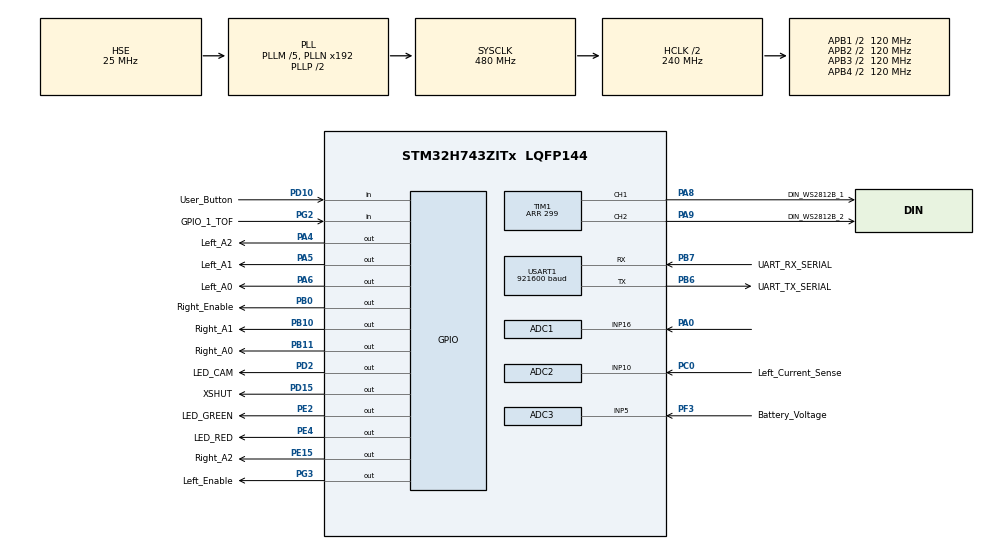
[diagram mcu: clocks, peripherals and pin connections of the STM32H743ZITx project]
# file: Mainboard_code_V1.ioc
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ADC1.Channel-0\#ChannelRegularConversion=ADC_CHANNEL_16
ADC1.ClockPrescaler=ADC_CLOCK_ASYNC_DIV2
ADC1.NbrOfConversionFlag=1
ADC1.Ratio=32
ADC1.master=1
ADC2.Channel-0\#ChannelRegularConversion=ADC_CHANNEL_10
ADC2.ClockPrescaler=ADC_CLOCK_ASYNC_DIV2
ADC2.NbrOfConversionFlag=1
ADC2.OffsetNumber-0\#ChannelRegularConversion=ADC_OFFSET_NONE
ADC2.OffsetSignedSaturation-0\#ChannelRegularConversion=DISABLE
ADC2.Rank-0\#ChannelRegularConversion=1
ADC2.Ratio=32
ADC2.SamplingTime-0\#ChannelRegularConversion=ADC_SAMPLETIME_1CYCLE_5
ADC3.Channel-0\#ChannelRegularConversion=ADC_CHANNEL_5
ADC3.ClockPrescaler=ADC_CLOCK_ASYNC_DIV2
ADC3.NbrOfConversionFlag=1
ADC3.OffsetNumber-0\#ChannelRegularConversion=ADC_OFFSET_NONE
ADC3.OffsetSignedSaturation-0\#ChannelRegularConversion=DISABLE
ADC3.Rank-0\#ChannelRegularConversion=1
ADC3.Ratio=32
ADC3.Resolution=ADC_RESOLUTION_14B
ADC3.SamplingTime-0\#ChannelRegularConversion=ADC_SAMPLETIME_1CYCLE_5
CORTEX_M7.default_mode_Activation=1
Dma.Request0=TIM1_CH1
Dma.Request1=TIM1_CH2
Dma.Request2=USART1_TX
Dma.TIM1_CH1.0.Direction=DMA_MEMORY_TO_PERIPH
Dma.TIM1_CH1.0.EventEnable=DISABLE
Dma.TIM1_CH1.0.FIFOMode=DMA_FIFOMODE_DISABLE
Dma.TIM1_CH1.0.Instance=DMA1_Stream0
Dma.TIM1_CH1.0.MemDataAlignment=DMA_MDATAALIGN_HALFWORD
Dma.TIM1_CH1.0.MemInc=DMA_MINC_ENABLE
Dma.TIM1_CH1.0.Mode=DMA_NORMAL
Dma.TIM1_CH1.0.PeriphDataAlignment=DMA_PDATAALIGN_HALFWORD
Dma.TIM1_CH1.0.PeriphInc=DMA_PINC_DISABLE
Dma.TIM1_CH1.0.Polarity=HAL_DMAMUX_REQ_GEN_RISING
Dma.TIM1_CH1.0.Priority=DMA_PRIORITY_HIGH
Dma.TIM1_CH1.0.RequestNumber=1
Dma.TIM1_CH1.0.SignalID=NONE
Dma.TIM1_CH1.0.SyncEnable=DISABLE
Dma.TIM1_CH1.0.SyncPolarity=HAL_DMAMUX_SYNC_NO_EVENT
Dma.TIM1_CH1.0.SyncRequestNumber=1
Dma.TIM1_CH1.0.SyncSignalID=NONE
Dma.TIM1_CH2.1.Direction=DMA_MEMORY_TO_PERIPH
Dma.TIM1_CH2.1.EventEnable=DISABLE
Dma.TIM1_CH2.1.FIFOMode=DMA_FIFOMODE_DISABLE
Dma.TIM1_CH2.1.Instance=DMA1_Stream1
Dma.TIM1_CH2.1.MemDataAlignment=DMA_MDATAALIGN_HALFWORD
Dma.TIM1_CH2.1.MemInc=DMA_MINC_ENABLE
Dma.TIM1_CH2.1.Mode=DMA_NORMAL
Dma.TIM1_CH2.1.PeriphDataAlignment=DMA_PDATAALIGN_HALFWORD
Dma.TIM1_CH2.1.PeriphInc=DMA_PINC_DISABLE
Dma.TIM1_CH2.1.Polarity=HAL_DMAMUX_REQ_GEN_RISING
Dma.TIM1_CH2.1.Priority=DMA_PRIORITY_HIGH
Dma.TIM1_CH2.1.RequestNumber=1
Dma.TIM1_CH2.1.SignalID=NONE
Dma.TIM1_CH2.1.SyncEnable=DISABLE
Dma.TIM1_CH2.1.SyncPolarity=HAL_DMAMUX_SYNC_NO_EVENT
Dma.TIM1_CH2.1.SyncRequestNumber=1
Dma.TIM1_CH2.1.SyncSignalID=NONE
Dma.USART1_TX.2.Direction=DMA_MEMORY_TO_PERIPH
Dma.USART1_TX.2.EventEnable=DISABLE
Dma.USART1_TX.2.FIFOMode=DMA_FIFOMODE_DISABLE
Dma.USART1_TX.2.Instance=DMA1_Stream7
Dma.USART1_TX.2.MemDataAlignment=DMA_MDATAALIGN_BYTE
Dma.USART1_TX.2.MemInc=DMA_MINC_ENABLE
Dma.USART1_TX.2.Mode=DMA_NORMAL
Dma.USART1_TX.2.PeriphDataAlignment=DMA_PDATAALIGN_BYTE
Dma.USART1_TX.2.PeriphInc=DMA_PINC_DISABLE
Dma.USART1_TX.2.Polarity=HAL_DMAMUX_REQ_GEN_RISING
Dma.USART1_TX.2.Priority=DMA_PRIORITY_HIGH
Dma.USART1_TX.2.RequestNumber=1
Dma.USART1_TX.2.SignalID=NONE
Dma.USART1_TX.2.SyncEnable=DISABLE
Dma.USART1_TX.2.SyncPolarity=HAL_DMAMUX_SYNC_NO_EVENT
Dma.USART1_TX.2.SyncRequestNumber=1
Dma.USART1_TX.2.SyncSignalID=NONE
Mcu.Family=STM32H7
Mcu.Name=STM32H743ZITx
Mcu.Package=LQFP144
NVIC.DMA1_Stream0_IRQn=true\:0\:0\:false\:false\:true\:false\:true\:true
NVIC.DMA1_Stream1_IRQn=true\:0\:0\:false\:false\:true\:false\:true\:true
NVIC.DMA1_Stream7_IRQn=true\:0\:0\:false\:false\:true\:false\:true\:true
NVIC.PriorityGroup=NVIC_PRIORITYGROUP_4
NVIC.USART1_IRQn=true\:0\:0\:false\:false\:true\:true\:true\:true
PA0.GPIO_Mode=GPIO_MODE_ANALOG
PA0.GPIO_Pd=GPIO_NOPULL
PA0.Mode=IN16-Single-Ended
PA0.Signal=ADC1_INP16
PA13\ (JTMS/SWDIO).Signal=DEBUG_JTMS-SWDIO
PA14\ (JTCK/SWCLK).Signal=DEBUG_JTCK-SWCLK
PA4.GPIO_Label=Left_A2
PA4.Signal=GPIO_Output
PA5.GPIO_Label=Left_A1
PA5.Signal=GPIO_Output
PA6.GPIO_Label=Left_A0
PA6.Signal=GPIO_Output
PA8.GPIO_Label=DIN_WS2812B_1
PA8.GPIO_Speed=GPIO_SPEED_FREQ_VERY_HIGH
PA8.Signal=S_TIM1_CH1
PA9.GPIO_Label=DIN_WS2812B_2
PA9.GPIO_Speed=GPIO_SPEED_FREQ_VERY_HIGH
PA9.Signal=S_TIM1_CH2
PB0.GPIO_Label=Right_Enable
PB0.PinState=GPIO_PIN_SET
PB0.Signal=GPIO_Output
PB10.GPIO_Label=Right_A1
PB10.Signal=GPIO_Output
PB11.GPIO_Label=Right_A0
PB11.Signal=GPIO_Output
PB3\ (JTDO/TRACESWO).Signal=DEBUG_JTDO-SWO
PB6.GPIO_Label=UART_TX_SERIAL
PB6.GPIO_PuPd=GPIO_NOPULL
PB6.GPIO_Speed=GPIO_SPEED_FREQ_VERY_HIGH
PB6.Mode=Asynchronous
PB6.Signal=USART1_TX
PB7.GPIO_Label=UART_RX_SERIAL
PB7.GPIO_Speed=GPIO_SPEED_FREQ_VERY_HIGH
PB7.Mode=Asynchronous
PB7.Signal=USART1_RX
PB8.GPIO_Speed=GPIO_SPEED_FREQ_VERY_HIGH
PB8.Signal=I2C1_SCL
PB9.GPIO_Speed=GPIO_SPEED_FREQ_VERY_HIGH
PB9.Signal=I2C1_SDA
PC0.GPIO_Label=Left_Current_Sense
PC0.Signal=ADCx_INP10
PC14-OSC32_IN\ (OSC32_IN).Mode=LSE-External-Oscillator
PC14-OSC32_IN\ (OSC32_IN).Signal=RCC_OSC32_IN
PC15-OSC32_OUT\ (OSC32_OUT).Mode=LSE-External-Oscillator
PC15-OSC32_OUT\ (OSC32_OUT).Signal=RCC_OSC32_OUT
PD10.GPIO_Label=User_Button
PD10.Signal=GPIO_Input
PD15.GPIO_Label=XSHUT
PD15.Signal=GPIO_Output
PD2.GPIO_Label=LED_CAM
PD2.Signal=GPIO_Output
PE15.GPIO_Label=Right_A2
PE15.Signal=GPIO_Output
PE2.GPIO_Label=LED_GREEN
PE2.Signal=GPIO_Output
PE4.GPIO_Label=LED_RED
PE4.Signal=GPIO_Output
PF3.GPIO_Label=Battery_Voltage
PF3.Mode=IN5-Single-Ended
PF3.Signal=ADC3_INP5
PG2.GPIO_Label=GPIO_1_TOF
PG2.GPIO_PuPd=GPIO_PULLUP
PG2.Signal=GPIO_Input
PG3.GPIO_Label=Left_Enable
PG3.PinState=GPIO_PIN_SET
PG3.Signal=GPIO_Output
PH0-OSC_IN\ (PH0).Mode=HSE-External-Oscillator
PH0-OSC_IN\ (PH0).Signal=RCC_OSC_IN
PH1-OSC_OUT\ (PH1).Mode=HSE-External-Oscillator
PH1-OSC_OUT\ (PH1).Signal=RCC_OSC_OUT
ProjectManager.HeapSize=0x200
ProjectManager.StackSize=0x400
ProjectManager.TargetToolchain=STM32CubeIDE
RCC.ADCFreq_Value=75000000
RCC.APB1Freq_Value=120000000
RCC.APB2Freq_Value=120000000
RCC.APB3Freq_Value=120000000
RCC.APB4Freq_Value=120000000
RCC.CortexFreq_Value=480000000
RCC.D1PPRE=RCC_APB3_DIV2
RCC.D2PPRE1=RCC_APB1_DIV2
RCC.D2PPRE2=RCC_APB2_DIV2
RCC.D3PPRE=RCC_APB4_DIV2
RCC.DIVM1=5
RCC.DIVM2=2
RCC.DIVN1=192
RCC.DIVN2=12
RCC.HCLKFreq_Value=240000000
RCC.HPRE=RCC_HCLK_DIV2
RCC.HSE_VALUE=25000000
RCC.HSIDiv=RCC_PLLSAIDIVR_2
RCC.PLL2FRACN=0
RCC.PLLFRACN=0
RCC.PLLSourceVirtual=RCC_PLLSOURCE_HSE
RCC.SYSCLKFreq_VALUE=480000000
RCC.SYSCLKSource=RCC_SYSCLKSOURCE_PLLCLK
RCC.USBFreq_Value=480000000
SH.ADCx_INP10.0=ADC2_INP10,IN10-Single-Ended
SH.S_TIM1_CH1.0=TIM1_CH1,PWM Generation1 CH1
SH.S_TIM1_CH2.0=TIM1_CH2,PWM Generation2 CH2
STMicroelectronics.X-CUBE-MEMS1.12.1.0.BoardOoPartJjAccGyrIspuJjLSM6DSO16IS=I2C
TIM1.AutoReloadPreload=TIM_AUTORELOAD_PRELOAD_ENABLE
TIM1.AutomaticOutput=TIM_AUTOMATICOUTPUT_ENABLE
TIM1.Channel-PWM\ Generation1\ CH1=TIM_CHANNEL_1
TIM1.Channel-PWM\ Generation2\ CH2=TIM_CHANNEL_2
TIM1.Period=299
USART1.BaudRate=921600
USART1.VirtualMode-Asynchronous=VM_ASYNC
VP_MEMORYMAP_VS_MEMORYMAP.Mode=CurAppReg
VP_STMicroelectronics.X-CUBE-MEMS1_VS_BoardOoPartJjAccGyrIspu_1.7.0_12.1.0.Mode=BoardOoPartJjAccGyrIspu
VP_TIM1_VS_ClockSourceINT.Mode=Internal
board=custom

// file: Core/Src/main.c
/* USER CODE BEGIN Header */
/**
  ******************************************************************************
  * @file           : main.c
  * @brief          : Hexapod mainboard — IMU + ToF + dual PCA9685 servo control
  *
  * Host ↔ STM32 communication lives entirely in uart_protocol.{c,h}.
  * See that header for the wire format.
  ******************************************************************************
  */
/* USER CODE END Header */
#include "main.h"

/* USER CODE BEGIN Includes */
#include <stdio.h>
#include <stdint.h>
#include "pca9685.h"
#include "imu.h"
#include "tof.h"
#include "uart_protocol.h"
#include "ws2812b.h"
#include "battery.h"
#include "adc.h"
#include "lokomotion.h"
#include "loko_input.h"
#include "loko_transitions.h"
#include "uart_dma_tx.h"

/* USER CODE END Includes */

ADC_HandleTypeDef hadc1;
ADC_HandleTypeDef hadc2;
ADC_HandleTypeDef hadc3;

TIM_HandleTypeDef htim1;
DMA_HandleTypeDef hdma_tim1_ch1;
DMA_HandleTypeDef hdma_tim1_ch2;

UART_HandleTypeDef huart1;
DMA_HandleTypeDef hdma_usart1_tx;

/* USER CODE BEGIN PV */

I2C_HandleTypeDef hi2c1;

/* Servo Drivers */
static PCA9685_t pca_right;
static PCA9685_t pca_left;

/* IMU */
// static IMU_Data_t   imu_data;

/* Locomotion */
static LokoState loko;

/* System-level error flags — set during init and runtime */
#define SYS_ERR_PCA_RIGHT  (1u << 0)
#define SYS_ERR_PCA_LEFT   (1u << 1)
#define SYS_ERR_IMU        (1u << 2)
#define SYS_ERR_TOF        (1u << 3)
#define SYS_ERR_LOKO       (1u << 4)
static uint32_t sys_err_flags = 0;
static uint16_t s_tof_distance_mm = 0xFFFFu;

uint16_t tof_get_distance_mm(void) { return s_tof_distance_mm; }

/* USER CODE END PV */

void SystemClock_Config(void);
void PeriphCommonClock_Config(void);
static void MPU_Config(void);
static void MX_GPIO_Init(void);
static void MX_DMA_Init(void);
static void MX_USART1_UART_Init(void);
static void MX_ADC1_Init(void);
static void MX_ADC2_Init(void);
static void MX_ADC3_Init(void);
static void MX_TIM1_Init(void);
/* USER CODE BEGIN PFP */
static void center_all_servos(void);
static void I2C_BusClear(void);
static void I2C1_Init(void);
/* USER CODE END PFP */

/* USER CODE BEGIN 0 */

/* Release any slave that held the I2C bus when the MCU reset.
 *
 * Root cause of the "8-resets" problem: a slave mid-transaction holds SDA low.
 * The old code broke out of the clock loop when SDA appeared HIGH, which happens
 * naturally between byte boundaries — so 0 clocks were sent and the slave stayed
 * stuck.  One 9-clock pass only recovers one stuck byte; a multi-byte PCA9685
 * write can leave 8+ bytes outstanding, matching the 8-reset symptom exactly.
 *
 * Fix: always send 9 clocks unconditionally, then issue a STOP.  Repeat three
 * rounds so even a slave deep inside a long transaction reaches a byte boundary
 * and recognises the STOP.  SDA is kept as INPUT during clocking so the slave
 * can drive its data bits; we switch to output only for the STOP pulse. */
static void I2C_BusClear(void)
{
    GPIO_InitTypeDef GPIO_InitStruct = {0};

    __HAL_RCC_GPIOB_CLK_ENABLE();

    /* SCL = PB8 open-drain output */
    GPIO_InitStruct.Pin   = GPIO_PIN_8;
    GPIO_InitStruct.Mode  = GPIO_MODE_OUTPUT_OD;
    GPIO_InitStruct.Pull  = GPIO_NOPULL;
    GPIO_InitStruct.Speed = GPIO_SPEED_FREQ_VERY_HIGH;
    HAL_GPIO_Init(GPIOB, &GPIO_InitStruct);

    /* SDA = PB9 input (let slave drive) */
    GPIO_InitStruct.Pin  = GPIO_PIN_9;
    GPIO_InitStruct.Mode = GPIO_MODE_INPUT;
    GPIO_InitStruct.Pull = GPIO_NOPULL;
    HAL_GPIO_Init(GPIOB, &GPIO_InitStruct);

    /* 18 rounds of 9 SCL pulses + STOP.  Each round clocks one byte out of
     * the slave, bringing it to a byte boundary where the STOP is recognised.
     * 18 rounds covers slaves stuck up to 18 bytes deep in a transaction
     * (PCA9685 burst writes, VL53L1X 135-byte config writes, IMU multi-byte reads).
     * Do NOT break early on SDA high — the slave can have SDA=1 mid-byte. */
    for (int round = 0; round < 18; round++) {
        HAL_GPIO_WritePin(GPIOB, GPIO_PIN_8, GPIO_PIN_SET);
        HAL_Delay(1);

        for (int clk = 0; clk < 9; clk++) {
            HAL_GPIO_WritePin(GPIOB, GPIO_PIN_8, GPIO_PIN_RESET);
            HAL_Delay(1);
            HAL_GPIO_WritePin(GPIOB, GPIO_PIN_8, GPIO_PIN_SET);
            HAL_Delay(1);
        }

        /* Switch SDA to open-drain output to drive the STOP condition */
        GPIO_InitStruct.Pin   = GPIO_PIN_9;
        GPIO_InitStruct.Mode  = GPIO_MODE_OUTPUT_OD;
        GPIO_InitStruct.Pull  = GPIO_NOPULL;
        GPIO_InitStruct.Speed = GPIO_SPEED_FREQ_VERY_HIGH;
        HAL_GPIO_Init(GPIOB, &GPIO_InitStruct);

        /* STOP: SDA low → high while SCL is high */
        HAL_GPIO_WritePin(GPIOB, GPIO_PIN_8, GPIO_PIN_SET);
        HAL_GPIO_WritePin(GPIOB, GPIO_PIN_9, GPIO_PIN_RESET);
        HAL_Delay(1);
        HAL_GPIO_WritePin(GPIOB, GPIO_PIN_9, GPIO_PIN_SET);
        HAL_Delay(1);

        /* Switch SDA back to input for next round */
        GPIO_InitStruct.Pin  = GPIO_PIN_9;
        GPIO_InitStruct.Mode = GPIO_MODE_INPUT;
        GPIO_InitStruct.Pull = GPIO_NOPULL;
        HAL_GPIO_Init(GPIOB, &GPIO_InitStruct);

        /* Bus free — no point sending more rounds */
        if (HAL_GPIO_ReadPin(GPIOB, GPIO_PIN_9) == GPIO_PIN_SET) break;
    }

    /* Final STOP with SDA as output (leaves pins in a clean state for I2C1_Init) */
    GPIO_InitStruct.Pin   = GPIO_PIN_9;
    GPIO_InitStruct.Mode  = GPIO_MODE_OUTPUT_OD;
    GPIO_InitStruct.Pull  = GPIO_NOPULL;
    GPIO_InitStruct.Speed = GPIO_SPEED_FREQ_VERY_HIGH;
    HAL_GPIO_Init(GPIOB, &GPIO_InitStruct);
    HAL_GPIO_WritePin(GPIOB, GPIO_PIN_8, GPIO_PIN_SET);
    HAL_GPIO_WritePin(GPIOB, GPIO_PIN_9, GPIO_PIN_SET);
    HAL_Delay(1);
}

static void I2C1_Init(void)
{
    hi2c1.Instance             = I2C1;
    hi2c1.Init.Timing          = 0x00B03FDB;   /* 400 kHz @ 64 MHz PCLK1 */
    hi2c1.Init.OwnAddress1     = 0;
    hi2c1.Init.AddressingMode  = I2C_ADDRESSINGMODE_7BIT;
    hi2c1.Init.DualAddressMode = I2C_DUALADDRESS_DISABLE;
    hi2c1.Init.OwnAddress2     = 0;
    hi2c1.Init.OwnAddress2Masks = I2C_OA2_NOMASK;
    hi2c1.Init.GeneralCallMode = I2C_GENERALCALL_DISABLE;
    hi2c1.Init.NoStretchMode   = I2C_NOSTRETCH_DISABLE;
    HAL_I2C_Init(&hi2c1);
    HAL_I2CEx_ConfigAnalogFilter(&hi2c1, I2C_ANALOGFILTER_ENABLE);
    HAL_I2CEx_ConfigDigitalFilter(&hi2c1, 0);
}

/* Move all nine channels of both PCA9685 boards to their mechanical midpoint. */
static void center_all_servos(void)
{
    for (uint8_t ch = 0; ch < 9; ch++) {
        PCA9685_SetServoAngle(&pca_right, ch, 90.0f);
        PCA9685_SetServoAngle(&pca_left,  ch, 90.0f);
    }
}

/* USER CODE END 0 */

int main(void)
{

  /* USER CODE BEGIN 1 */
  /* Drive servo OE pins HIGH before anything else runs.
   * After MCU reset all GPIOs are inputs (floating). The PCA9685 OE pin
   * has an internal pull-down, so it immediately enables the outputs and
   * drives whatever stale angles are in its registers (PCA9685 is powered
   * independently and does NOT reset when the MCU resets).
   * In debug mode the debugger halts here for seconds — without this the
   * servos are live the entire time.
   *   Right_Enable = PB0   Left_Enable = PG3
   */
  __HAL_RCC_GPIOB_CLK_ENABLE();
  __HAL_RCC_GPIOG_CLK_ENABLE();
  GPIOB->BSRR = GPIO_PIN_0;   /* PB0 HIGH  (Right_Enable, OE disabled) */
  GPIOG->BSRR = GPIO_PIN_3;   /* PG3 HIGH  (Left_Enable,  OE disabled) */
  /* Set pins as push-pull output so they actively drive HIGH, not just
   * pre-load ODR. MODER bits [1:0] per pin: 01 = output. */
  GPIOB->MODER = (GPIOB->MODER & ~(3UL << (0 * 2))) | (1UL << (0 * 2));
  GPIOG->MODER = (GPIOG->MODER & ~(3UL << (3 * 2))) | (1UL << (3 * 2));
  /* USER CODE END 1 */

  /* MPU Configuration--------------------------------------------------------*/
  MPU_Config();

  /* MCU Configuration--------------------------------------------------------*/

  /* Reset of all peripherals, Initializes the Flash interface and the Systick. */
  HAL_Init();

  /* Configure the system clock */
  SystemClock_Config();

  /* Configure the peripherals common clocks */
  PeriphCommonClock_Config();

  /* Initialize all configured peripherals */
  MX_GPIO_Init();
  MX_DMA_Init();
  MX_USART1_UART_Init();
  MX_ADC1_Init();
  MX_ADC2_Init();
  MX_ADC3_Init();
  MX_TIM1_Init();
  /* USER CODE BEGIN 2 */

  uart_dma_tx_init(&huart1, &hdma_usart1_tx);

  /* On cold boot, PCA9685 is powered independently and may have stuck the I2C bus.
   * DeInit resets state to RESET so the next init re-runs MspInit (GPIO/clock).
   * Uses BSP_I2C1_Init (custom_bus.c) — survives CubeMX regeneration when I2C1
   * is disabled from Connectivity and removed from main.c. */
  /* Release XSHUT so the VL53L1X is not holding the I2C bus during bus clear.
   * MX_GPIO_Init() drives it LOW by default; bring it HIGH here before we
   * touch SCL/SDA, then TOF_Init() will do its own reset sequence later. */
  HAL_GPIO_WritePin(XSHUT_GPIO_Port, XSHUT_Pin, GPIO_PIN_SET);
  HAL_Delay(5);   /* VL53L1X boot time after XSHUT release */

  /* Give all I2C devices time to finish powering up before we touch the bus.
   * 200 ms covers PCA9685 cold-boot oscillator start and VL53L1X firmware load. */
  HAL_Delay(200);

  HAL_I2C_DeInit(&hi2c1);
  I2C_BusClear();
  I2C1_Init();

  /* Global software reset for all PCA9685 boards on the bus */
  PCA9685_SoftwareReset(&hi2c1);
  HAL_Delay(50);  /* datasheet min 500us; give extra margin after bus clear on cold boot */

  HAL_ADCEx_Calibration_Start(&hadc1, ADC_CALIB_OFFSET_LINEARITY, ADC_SINGLE_ENDED);
  HAL_ADCEx_Calibration_Start(&hadc2, ADC_CALIB_OFFSET_LINEARITY, ADC_SINGLE_ENDED);
  HAL_ADCEx_Calibration_Start(&hadc3, ADC_CALIB_OFFSET_LINEARITY, ADC_SINGLE_ENDED);
  ADC_Init(&hadc1, &hadc2, &hadc3);

    /* Fill the PCA9685 structs before handing pointers to the protocol
     * module; the module only dereferences them when commands arrive. */
    pca_right.hi2c    = &hi2c1;
    pca_right.addr    = PCA9685_ADDR_RIGHT;
    pca_right.freq_hz = 50.0f;
    pca_right.min_us  = PCA9685_SERVO_MIN_US;
    pca_right.max_us  = PCA9685_SERVO_MAX_US;

    pca_left.hi2c    = &hi2c1;
    pca_left.addr    = PCA9685_ADDR_LEFT;
    pca_left.freq_hz = 50.0f;
    pca_left.min_us  = PCA9685_SERVO_MIN_US;
    pca_left.max_us  = PCA9685_SERVO_MAX_US;

    /* Bring up the protocol first so the banner printfs below go out. */
    const UART_Protocol_Config_t cfg = {
        .huart             = &huart1,
        .pca_right         = &pca_right,
        .pca_left          = &pca_left,
        .adc_current_right = &hadc1,
        .adc_current_left  = &hadc2,
        .loko              = &loko,
    };
    UART_Protocol_Init(&cfg);
    Battery_Init(&hadc3);
    printf("/BATTERY/VDDA/%lu mV\r\n", (unsigned long)Battery_GetVddaMv());

    printf("\r\n=== Hexapod Mainboard ===\r\n");

    /* Retry PCA9685 init up to 5 times.  On a cold boot the I2C HAL can be
     * left in a BUSY state after a failed transaction; force-resetting the
     * peripheral clock clears that flag and lets the next attempt succeed.
     * Retry only if either board fails (not just both), so one stuck device
     * doesn't mask the other. */
    HAL_StatusTypeDef pca_r = HAL_ERROR, pca_l = HAL_ERROR;
    for (int attempt = 0; attempt < 5; attempt++) {
        pca_r = PCA9685_Init(&pca_right);
        pca_l = PCA9685_Init(&pca_left);
        if (pca_r == HAL_OK && pca_l == HAL_OK) break;

        /* Reset the I2C peripheral and re-run the bus clear before retrying.
         * DeInit sets State=RESET so MX_I2C1_Init calls MspInit and
         * restores PB8/PB9 to AF mode after the bus-clear GPIO toggling. */
        HAL_I2C_DeInit(&hi2c1);
        I2C_BusClear();
        I2C1_Init();
        PCA9685_SoftwareReset(&hi2c1);
        HAL_Delay(50);  /* match the increased delay above */
    }

    if (pca_r == HAL_OK) printf("PCA9685 Right: OK\r\n");
    else { printf("PCA9685 Right: FAIL\r\n"); sys_err_flags |= SYS_ERR_PCA_RIGHT; }
    if (pca_l == HAL_OK) printf("PCA9685 Left:  OK\r\n");
    else { printf("PCA9685 Left:  FAIL\r\n"); sys_err_flags |= SYS_ERR_PCA_LEFT;  }

    /* OE pins stay HIGH (outputs disabled) until an explicit arm command.
     * center_all_servos() still pre-loads the PWM registers so the first
     * move after arming goes to a known position without a jerk. */
    center_all_servos();

    if (IMU_Init(&hi2c1) == 0) printf("LSM6DSO16IS IMU (filtered): OK\r\n");
    else { printf("LSM6DSO16IS IMU (filtered): FAIL\r\n"); sys_err_flags |= SYS_ERR_IMU; }

    if (TOF_Init(&hi2c1) == 0) printf("VL53L1X ToF:   OK\r\n");
    else { printf("VL53L1X ToF:   FAIL\r\n"); sys_err_flags |= SYS_ERR_TOF; }

    /* Locomotion controller — starts in UN_ARMED; servo output is printf only.
     * loko_enable(1) is always set because we are not driving hardware yet —
     * switch back to PCA9685 writes in loko_servo.c when hardware is ready. */
    loko_init(&loko, &pca_right, &pca_left);
    loko_enable(&loko, 1u);
    printf("Locomotion:    INIT (UN_ARMED, printf mode)\r\n");
    printf("  Press L1 to arm, R1 to disarm at any time.\r\n");

    if (sys_err_flags) {
        printf("/ERR/INIT/0x%08lx\r\n", (unsigned long)sys_err_flags);
    }
    printf("Ready.\r\n");

    ws2812_init(&htim1);
    ws2812_mode_loading();   /* UN_ARMED startup — state machine takes over from here */

  /* USER CODE END 2 */

  /* Infinite loop */
    while (1)
    {

    /* USER CODE BEGIN 3 */

      UART_Update();

      ws2812_tick();
      /* ── 50 Hz IMU read tick (20 ms) ────────────────────────────────────── */
      static uint32_t imu_last_ms = 0;
      {
          uint32_t imu_now = HAL_GetTick();
          if (imu_now - imu_last_ms >= 20u) {
              imu_last_ms = imu_now;
              IMU_Read(&loko.imu_data);
          }
      }

      /* ── 20 Hz TOF read tick (50 ms) ─────────────────────────────────────── */
      static uint32_t tof_last_ms = 0;
      {
          uint32_t tof_now = HAL_GetTick();
          if (tof_now - tof_last_ms >= 50u) {
              tof_last_ms = tof_now;
              TOF_Data_t tof = {0};
              if (TOF_Read(&tof) == 1)
                  s_tof_distance_mm = tof.distance_mm;
          }
      }

      /* ── 100 Hz locomotion control tick (10 ms) ──────────────────────────── */
      static uint32_t loko_last_ms = 0;
      {
          uint32_t loko_now = HAL_GetTick();
          if (loko_now - loko_last_ms >= 10u) {
              float dt = (float)(loko_now - loko_last_ms) * 0.001f;
              loko_last_ms = loko_now;

              /* Build locomotion input from PS5 controller */
              float input_values[LOKO_INPUT_COUNT] = {0};
              const UART_ControllerState_t *ctrl = UART_GetController();

              input_values[AXIS_RX] = -ctrl->right_stick_x;
              input_values[AXIS_RY] = ctrl->right_stick_y;
              input_values[AXIS_LX] = ctrl->left_stick_x;

              //prevention so it cant walk in to a wall
              if((250.0f >= (float)tof_get_distance_mm()) && (ctrl->left_stick_y < 0.0f)){
            	  input_values[AXIS_LY] = 0.0f;
              } else {
            	  input_values[AXIS_LY] = ctrl->left_stick_y;
              }

              /* Face buttons bitmask: X(1), A(2), B(4), Y(8) */
              input_values[BTN_SQUARE]   = (ctrl->face_buttons & (1 << 0)) ? 1.0f : 0.0f;
              input_values[BTN_CROSS]    = (ctrl->face_buttons & (1 << 1)) ? 1.0f : 0.0f;
              input_values[BTN_CIRCLE]   = (ctrl->face_buttons & (1 << 2)) ? 1.0f : 0.0f;
              input_values[BTN_TRIANGLE] = (ctrl->face_buttons & (1 << 3)) ? 1.0f : 0.0f;

              /* Stick click buttons: L3(1), R3(2) */
              input_values[BTN_L3]       = (ctrl->stick_buttons & (1 << 0)) ? 1.0f : 0.0f;
              input_values[BTN_R3]       = (ctrl->stick_buttons & (1 << 1)) ? 1.0f : 0.0f;

              /* Trigger/shoulder buttons bitmask: LT(1), View(2), LB(4), RT(8), RB(16), Start(32) */
              input_values[BTN_L2]      = (ctrl->trigger_buttons & (1 << 0)) ? 1.0f : 0.0f;
              input_values[BTN_SHARE]   = (ctrl->trigger_buttons & (1 << 1)) ? 1.0f : 0.0f;
              input_values[BTN_L1]      = (ctrl->trigger_buttons & (1 << 2)) ? 1.0f : 0.0f;
              input_values[BTN_R2]      = (ctrl->trigger_buttons & (1 << 3)) ? 1.0f : 0.0f;
              input_values[BTN_R1]      = (ctrl->trigger_buttons & (1 << 4)) ? 1.0f : 0.0f;
              input_values[BTN_OPTIONS] = (ctrl->trigger_buttons & (1 << 5)) ? 1.0f : 0.0f;

              /* D-pad: dpad_x < 0 = left, > 0 = right; dpad_y < 0 = up, > 0 = down */
              input_values[BTN_DPAD_LEFT]  = (ctrl->dpad_x < 0) ? 1.0f : 0.0f;
              input_values[BTN_DPAD_RIGHT] = (ctrl->dpad_x > 0) ? 1.0f : 0.0f;
              input_values[BTN_DPAD_UP]    = (ctrl->dpad_y < 0) ? 1.0f : 0.0f;
              input_values[BTN_DPAD_DOWN]  = (ctrl->dpad_y > 0) ? 1.0f : 0.0f;

              loko_input_update(&loko.pad, input_values);
              loko_update_transitions(&loko);

              LokoInput loko_in;
              loko_default_input(&loko_in);
              /* Map stick inputs to translation and rotation. */
              loko_in.vx = -loko_axis(&loko.pad, AXIS_LY);
              loko_in.vy = -loko_axis(&loko.pad, AXIS_LX);
              loko_in.wz =  loko_axis(&loko.pad, AXIS_RX);

              loko_update(&loko, &loko_in, dt);

              /* Check and report locomotion errors */
              uint32_t lerr = loko_get_errors(&loko);
              if (lerr) {
                  sys_err_flags |= SYS_ERR_LOKO;
                  loko_clear_errors(&loko);
                  printf("/ERR/LOKO/0x%08lx\r\n", (unsigned long)lerr);
              }
          }
      }

      /* ── Error state indication ───────────────────────────────────────────
       * Any error in sys_err_flags → red LED blinks at 2 Hz and ws2812
       * switches to pulsing red.  Clears automatically once flags are cleared
       * (no automatic clearing — requires a reset or explicit flag clear). */
      if (sys_err_flags) {
          static uint32_t err_blink_ms    = 0;
          static uint8_t  err_blink_state = 0;
          if (HAL_GetTick() - err_blink_ms >= 250u) {
              err_blink_ms    = HAL_GetTick();
              err_blink_state ^= 1u;
              HAL_GPIO_WritePin(LED_RED_GPIO_Port, LED_RED_Pin,
                                err_blink_state ? GPIO_PIN_SET : GPIO_PIN_RESET);
              if (err_blink_state); //ws2812_mode_pulse_red();
          }
      }
    }
  /* USER CODE END 3 */
}

void SystemClock_Config(void)
{
  RCC_OscInitTypeDef RCC_OscInitStruct = {0};
  RCC_ClkInitTypeDef RCC_ClkInitStruct = {0};

  /** Supply configuration update enable
  */
  HAL_PWREx_ConfigSupply(PWR_LDO_SUPPLY);

  /** Configure the main internal regulator output voltage
  */
  __HAL_PWR_VOLTAGESCALING_CONFIG(PWR_REGULATOR_VOLTAGE_SCALE0);

  while(!__HAL_PWR_GET_FLAG(PWR_FLAG_VOSRDY)) {}

  /** Initializes the RCC Oscillators according to the specified parameters
  * in the RCC_OscInitTypeDef structure.
  */
  RCC_OscInitStruct.OscillatorType = RCC_OSCILLATORTYPE_HSE;
  RCC_OscInitStruct.HSEState = RCC_HSE_ON;
  RCC_OscInitStruct.PLL.PLLState = RCC_PLL_ON;
  RCC_OscInitStruct.PLL.PLLSource = RCC_PLLSOURCE_HSE;
  RCC_OscInitStruct.PLL.PLLM = 5;
  RCC_OscInitStruct.PLL.PLLN = 192;
  RCC_OscInitStruct.PLL.PLLP = 2;
  RCC_OscInitStruct.PLL.PLLQ = 2;
  RCC_OscInitStruct.PLL.PLLR = 2;
  RCC_OscInitStruct.PLL.PLLRGE = RCC_PLL1VCIRANGE_2;
  RCC_OscInitStruct.PLL.PLLVCOSEL = RCC_PLL1VCOWIDE;
  RCC_OscInitStruct.PLL.PLLFRACN = 0;
  if (HAL_RCC_OscConfig(&RCC_OscInitStruct) != HAL_OK)
  {
    Error_Handler();
  }

  /** Initializes the CPU, AHB and APB buses clocks
  */
  RCC_ClkInitStruct.ClockType = RCC_CLOCKTYPE_HCLK|RCC_CLOCKTYPE_SYSCLK
                              |RCC_CLOCKTYPE_PCLK1|RCC_CLOCKTYPE_PCLK2
                              |RCC_CLOCKTYPE_D3PCLK1|RCC_CLOCKTYPE_D1PCLK1;
  RCC_ClkInitStruct.SYSCLKSource = RCC_SYSCLKSOURCE_PLLCLK;
  RCC_ClkInitStruct.SYSCLKDivider = RCC_SYSCLK_DIV1;
  RCC_ClkInitStruct.AHBCLKDivider = RCC_HCLK_DIV2;
  RCC_ClkInitStruct.APB3CLKDivider = RCC_APB3_DIV2;
  RCC_ClkInitStruct.APB1CLKDivider = RCC_APB1_DIV2;
  RCC_ClkInitStruct.APB2CLKDivider = RCC_APB2_DIV2;
  RCC_ClkInitStruct.APB4CLKDivider = RCC_APB4_DIV2;

  if (HAL_RCC_ClockConfig(&RCC_ClkInitStruct, FLASH_LATENCY_4) != HAL_OK)
  {
    Error_Handler();
  }
}

void PeriphCommonClock_Config(void)
{
  RCC_PeriphCLKInitTypeDef PeriphClkInitStruct = {0};

  /** Initializes the peripherals clock
  */
  PeriphClkInitStruct.PeriphClockSelection = RCC_PERIPHCLK_ADC;
  PeriphClkInitStruct.PLL2.PLL2M = 2;
  PeriphClkInitStruct.PLL2.PLL2N = 12;
  PeriphClkInitStruct.PLL2.PLL2P = 2;
  PeriphClkInitStruct.PLL2.PLL2Q = 2;
  PeriphClkInitStruct.PLL2.PLL2R = 2;
  PeriphClkInitStruct.PLL2.PLL2RGE = RCC_PLL2VCIRANGE_3;
  PeriphClkInitStruct.PLL2.PLL2VCOSEL = RCC_PLL2VCOMEDIUM;
  PeriphClkInitStruct.PLL2.PLL2FRACN = 0;
  PeriphClkInitStruct.AdcClockSelection = RCC_ADCCLKSOURCE_PLL2;
  if (HAL_RCCEx_PeriphCLKConfig(&PeriphClkInitStruct) != HAL_OK)
  {
    Error_Handler();
  }
}

static void MX_ADC1_Init(void)
{

  ADC_MultiModeTypeDef multimode = {0};
  ADC_ChannelConfTypeDef sConfig = {0};

  /** Common config
  */
  hadc1.Instance = ADC1;
  hadc1.Init.ClockPrescaler = ADC_CLOCK_ASYNC_DIV2;
  hadc1.Init.Resolution = ADC_RESOLUTION_16B;
  hadc1.Init.ScanConvMode = ADC_SCAN_DISABLE;
  hadc1.Init.EOCSelection = ADC_EOC_SINGLE_CONV;
  hadc1.Init.LowPowerAutoWait = DISABLE;
  hadc1.Init.ContinuousConvMode = DISABLE;
  hadc1.Init.NbrOfConversion = 1;
  hadc1.Init.DiscontinuousConvMode = DISABLE;
  hadc1.Init.ExternalTrigConv = ADC_SOFTWARE_START;
  hadc1.Init.ExternalTrigConvEdge = ADC_EXTERNALTRIGCONVEDGE_NONE;
  hadc1.Init.ConversionDataManagement = ADC_CONVERSIONDATA_DR;
  hadc1.Init.Overrun = ADC_OVR_DATA_PRESERVED;
  hadc1.Init.LeftBitShift = ADC_LEFTBITSHIFT_NONE;
  hadc1.Init.OversamplingMode = DISABLE;
  hadc1.Init.Oversampling.Ratio = 32;
  if (HAL_ADC_Init(&hadc1) != HAL_OK)
  {
    Error_Handler();
  }

  /** Configure the ADC multi-mode
  */
  multimode.Mode = ADC_MODE_INDEPENDENT;
  if (HAL_ADCEx_MultiModeConfigChannel(&hadc1, &multimode) != HAL_OK)
  {
    Error_Handler();
  }

  /** Configure Regular Channel
  */
  sConfig.Channel = ADC_CHANNEL_16;
  sConfig.Rank = ADC_REGULAR_RANK_1;
  sConfig.SamplingTime = ADC_SAMPLETIME_1CYCLE_5;
  sConfig.SingleDiff = ADC_SINGLE_ENDED;
  sConfig.OffsetNumber = ADC_OFFSET_NONE;
  sConfig.Offset = 0;
  sConfig.OffsetSignedSaturation = DISABLE;
  if (HAL_ADC_ConfigChannel(&hadc1, &sConfig) != HAL_OK)
  {
    Error_Handler();
  }

}

static void MX_ADC2_Init(void)
{

  ADC_ChannelConfTypeDef sConfig = {0};

  /** Common config
  */
  hadc2.Instance = ADC2;
  hadc2.Init.ClockPrescaler = ADC_CLOCK_ASYNC_DIV2;
  hadc2.Init.Resolution = ADC_RESOLUTION_16B;
  hadc2.Init.ScanConvMode = ADC_SCAN_DISABLE;
  hadc2.Init.EOCSelection = ADC_EOC_SINGLE_CONV;
  hadc2.Init.LowPowerAutoWait = DISABLE;
  hadc2.Init.ContinuousConvMode = DISABLE;
  hadc2.Init.NbrOfConversion = 1;
  hadc2.Init.DiscontinuousConvMode = DISABLE;
  hadc2.Init.ExternalTrigConv = ADC_SOFTWARE_START;
  hadc2.Init.ExternalTrigConvEdge = ADC_EXTERNALTRIGCONVEDGE_NONE;
  hadc2.Init.ConversionDataManagement = ADC_CONVERSIONDATA_DR;
  hadc2.Init.Overrun = ADC_OVR_DATA_PRESERVED;
  hadc2.Init.LeftBitShift = ADC_LEFTBITSHIFT_NONE;
  hadc2.Init.OversamplingMode = DISABLE;
  hadc2.Init.Oversampling.Ratio = 32;
  if (HAL_ADC_Init(&hadc2) != HAL_OK)
  {
    Error_Handler();
  }

  /** Configure Regular Channel
  */
  sConfig.Channel = ADC_CHANNEL_10;
  sConfig.Rank = ADC_REGULAR_RANK_1;
  sConfig.SamplingTime = ADC_SAMPLETIME_1CYCLE_5;
  sConfig.SingleDiff = ADC_SINGLE_ENDED;
  sConfig.OffsetNumber = ADC_OFFSET_NONE;
  sConfig.Offset = 0;
  sConfig.OffsetSignedSaturation = DISABLE;
  if (HAL_ADC_ConfigChannel(&hadc2, &sConfig) != HAL_OK)
  {
    Error_Handler();
  }

}

static void MX_ADC3_Init(void)
{

  ADC_ChannelConfTypeDef sConfig = {0};

  /** Common config
  */
  hadc3.Instance = ADC3;
  hadc3.Init.ClockPrescaler = ADC_CLOCK_ASYNC_DIV2;
  hadc3.Init.Resolution = ADC_RESOLUTION_14B;
  hadc3.Init.ScanConvMode = ADC_SCAN_DISABLE;
  hadc3.Init.EOCSelection = ADC_EOC_SINGLE_CONV;
  hadc3.Init.LowPowerAutoWait = DISABLE;
  hadc3.Init.ContinuousConvMode = DISABLE;
  hadc3.Init.NbrOfConversion = 1;
  hadc3.Init.DiscontinuousConvMode = DISABLE;
  hadc3.Init.ExternalTrigConv = ADC_SOFTWARE_START;
  hadc3.Init.ExternalTrigConvEdge = ADC_EXTERNALTRIGCONVEDGE_NONE;
  hadc3.Init.ConversionDataManagement = ADC_CONVERSIONDATA_DR;
  hadc3.Init.Overrun = ADC_OVR_DATA_PRESERVED;
  hadc3.Init.LeftBitShift = ADC_LEFTBITSHIFT_NONE;
  hadc3.Init.OversamplingMode = DISABLE;
  hadc3.Init.Oversampling.Ratio = 32;
  if (HAL_ADC_Init(&hadc3) != HAL_OK)
  {
    Error_Handler();
  }

  /** Configure Regular Channel
  */
  sConfig.Channel = ADC_CHANNEL_5;
  sConfig.Rank = ADC_REGULAR_RANK_1;
  sConfig.SamplingTime = ADC_SAMPLETIME_1CYCLE_5;
  sConfig.SingleDiff = ADC_SINGLE_ENDED;
  sConfig.OffsetNumber = ADC_OFFSET_NONE;
  sConfig.Offset = 0;
  sConfig.OffsetSignedSaturation = DISABLE;
  if (HAL_ADC_ConfigChannel(&hadc3, &sConfig) != HAL_OK)
  {
    Error_Handler();
  }

}

static void MX_TIM1_Init(void)
{

  TIM_ClockConfigTypeDef sClockSourceConfig = {0};
  TIM_MasterConfigTypeDef sMasterConfig = {0};
  TIM_OC_InitTypeDef sConfigOC = {0};
  TIM_BreakDeadTimeConfigTypeDef sBreakDeadTimeConfig = {0};

  htim1.Instance = TIM1;
  htim1.Init.Prescaler = 0;
  htim1.Init.CounterMode = TIM_COUNTERMODE_UP;
  htim1.Init.Period = 299;
  htim1.Init.ClockDivision = TIM_CLOCKDIVISION_DIV1;
  htim1.Init.RepetitionCounter = 0;
  htim1.Init.AutoReloadPreload = TIM_AUTORELOAD_PRELOAD_ENABLE;
  if (HAL_TIM_Base_Init(&htim1) != HAL_OK)
  {
    Error_Handler();
  }
  sClockSourceConfig.ClockSource = TIM_CLOCKSOURCE_INTERNAL;
  if (HAL_TIM_ConfigClockSource(&htim1, &sClockSourceConfig) != HAL_OK)
  {
    Error_Handler();
  }
  if (HAL_TIM_PWM_Init(&htim1) != HAL_OK)
  {
    Error_Handler();
  }
  sMasterConfig.MasterOutputTrigger = TIM_TRGO_RESET;
  sMasterConfig.MasterOutputTrigger2 = TIM_TRGO2_RESET;
  sMasterConfig.MasterSlaveMode = TIM_MASTERSLAVEMODE_DISABLE;
  if (HAL_TIMEx_MasterConfigSynchronization(&htim1, &sMasterConfig) != HAL_OK)
  {
    Error_Handler();
  }
  sConfigOC.OCMode = TIM_OCMODE_PWM1;
  sConfigOC.Pulse = 0;
  sConfigOC.OCPolarity = TIM_OCPOLARITY_HIGH;
  sConfigOC.OCNPolarity = TIM_OCNPOLARITY_HIGH;
  sConfigOC.OCFastMode = TIM_OCFAST_DISABLE;
  sConfigOC.OCIdleState = TIM_OCIDLESTATE_RESET;
  sConfigOC.OCNIdleState = TIM_OCNIDLESTATE_RESET;
  if (HAL_TIM_PWM_ConfigChannel(&htim1, &sConfigOC, TIM_CHANNEL_1) != HAL_OK)
  {
    Error_Handler();
  }
  if (HAL_TIM_PWM_ConfigChannel(&htim1, &sConfigOC, TIM_CHANNEL_2) != HAL_OK)
  {
    Error_Handler();
  }
  sBreakDeadTimeConfig.OffStateRunMode = TIM_OSSR_DISABLE;
  sBreakDeadTimeConfig.OffStateIDLEMode = TIM_OSSI_DISABLE;
  sBreakDeadTimeConfig.LockLevel = TIM_LOCKLEVEL_OFF;
  sBreakDeadTimeConfig.DeadTime = 0;
  sBreakDeadTimeConfig.BreakState = TIM_BREAK_DISABLE;
  sBreakDeadTimeConfig.BreakPolarity = TIM_BREAKPOLARITY_HIGH;
  sBreakDeadTimeConfig.BreakFilter = 0;
  sBreakDeadTimeConfig.Break2State = TIM_BREAK2_DISABLE;
  sBreakDeadTimeConfig.Break2Polarity = TIM_BREAK2POLARITY_HIGH;
  sBreakDeadTimeConfig.Break2Filter = 0;
  sBreakDeadTimeConfig.AutomaticOutput = TIM_AUTOMATICOUTPUT_ENABLE;
  if (HAL_TIMEx_ConfigBreakDeadTime(&htim1, &sBreakDeadTimeConfig) != HAL_OK)
  {
    Error_Handler();
  }
  HAL_TIM_MspPostInit(&htim1);

}

static void MX_USART1_UART_Init(void)
{

  huart1.Instance = USART1;
  huart1.Init.BaudRate = 921600;
  huart1.Init.WordLength = UART_WORDLENGTH_8B;
  huart1.Init.StopBits = UART_STOPBITS_1;
  huart1.Init.Parity = UART_PARITY_NONE;
  huart1.Init.Mode = UART_MODE_TX_RX;
  huart1.Init.HwFlowCtl = UART_HWCONTROL_NONE;
  huart1.Init.OverSampling = UART_OVERSAMPLING_16;
  huart1.Init.OneBitSampling = UART_ONE_BIT_SAMPLE_DISABLE;
  huart1.Init.ClockPrescaler = UART_PRESCALER_DIV1;
  huart1.AdvancedInit.AdvFeatureInit = UART_ADVFEATURE_NO_INIT;
  if (HAL_UART_Init(&huart1) != HAL_OK)
  {
    Error_Handler();
  }
  if (HAL_UARTEx_SetTxFifoThreshold(&huart1, UART_TXFIFO_THRESHOLD_1_8) != HAL_OK)
  {
    Error_Handler();
  }
  if (HAL_UARTEx_SetRxFifoThreshold(&huart1, UART_RXFIFO_THRESHOLD_1_8) != HAL_OK)
  {
    Error_Handler();
  }
  if (HAL_UARTEx_DisableFifoMode(&huart1) != HAL_OK)
  {
    Error_Handler();
  }

}

static void MX_DMA_Init(void)
{

  /* DMA controller clock enable */
  __HAL_RCC_DMA1_CLK_ENABLE();

  /* DMA interrupt init */
  /* DMA1_Stream0_IRQn interrupt configuration */
  HAL_NVIC_SetPriority(DMA1_Stream0_IRQn, 0, 0);
  HAL_NVIC_EnableIRQ(DMA1_Stream0_IRQn);
  /* DMA1_Stream1_IRQn interrupt configuration */
  HAL_NVIC_SetPriority(DMA1_Stream1_IRQn, 0, 0);
  HAL_NVIC_EnableIRQ(DMA1_Stream1_IRQn);
  /* DMA1_Stream7_IRQn interrupt configuration */
  HAL_NVIC_SetPriority(DMA1_Stream7_IRQn, 0, 0);
  HAL_NVIC_EnableIRQ(DMA1_Stream7_IRQn);

}

static void MX_GPIO_Init(void)
{
  GPIO_InitTypeDef GPIO_InitStruct = {0};

  /* GPIO Ports Clock Enable */
  __HAL_RCC_GPIOE_CLK_ENABLE();
  __HAL_RCC_GPIOC_CLK_ENABLE();
  __HAL_RCC_GPIOF_CLK_ENABLE();
  __HAL_RCC_GPIOH_CLK_ENABLE();
  __HAL_RCC_GPIOA_CLK_ENABLE();
  __HAL_RCC_GPIOB_CLK_ENABLE();
  __HAL_RCC_GPIOD_CLK_ENABLE();
  __HAL_RCC_GPIOG_CLK_ENABLE();

  /*Configure GPIO pin Output Level */
  HAL_GPIO_WritePin(GPIOE, LED_GREEN_Pin|LED_RED_Pin|Right_A2_Pin, GPIO_PIN_RESET);

  /*Configure GPIO pin Output Level */
  HAL_GPIO_WritePin(GPIOA, Left_A2_Pin|Left_A1_Pin|Left_A0_Pin, GPIO_PIN_RESET);

  /*Configure GPIO pin Output Level */
  HAL_GPIO_WritePin(Right_Enable_GPIO_Port, Right_Enable_Pin, GPIO_PIN_SET);

  /*Configure GPIO pin Output Level */
  HAL_GPIO_WritePin(GPIOB, Right_A1_Pin|Right_A0_Pin, GPIO_PIN_RESET);

  /*Configure GPIO pin Output Level */
  HAL_GPIO_WritePin(GPIOD, XSHUT_Pin|LED_CAM_Pin, GPIO_PIN_RESET);

  /*Configure GPIO pin Output Level */
  HAL_GPIO_WritePin(Left_Enable_GPIO_Port, Left_Enable_Pin, GPIO_PIN_SET);

  /*Configure GPIO pins : LED_GREEN_Pin LED_RED_Pin Right_A2_Pin */
  GPIO_InitStruct.Pin = LED_GREEN_Pin|LED_RED_Pin|Right_A2_Pin;
  GPIO_InitStruct.Mode = GPIO_MODE_OUTPUT_PP;
  GPIO_InitStruct.Pull = GPIO_NOPULL;
  GPIO_InitStruct.Speed = GPIO_SPEED_FREQ_LOW;
  HAL_GPIO_Init(GPIOE, &GPIO_InitStruct);

  /*Configure GPIO pins : Left_A2_Pin Left_A1_Pin Left_A0_Pin */
  GPIO_InitStruct.Pin = Left_A2_Pin|Left_A1_Pin|Left_A0_Pin;
  GPIO_InitStruct.Mode = GPIO_MODE_OUTPUT_PP;
  GPIO_InitStruct.Pull = GPIO_NOPULL;
  GPIO_InitStruct.Speed = GPIO_SPEED_FREQ_LOW;
  HAL_GPIO_Init(GPIOA, &GPIO_InitStruct);

  /*Configure GPIO pins : Right_Enable_Pin Right_A1_Pin Right_A0_Pin */
  GPIO_InitStruct.Pin = Right_Enable_Pin|Right_A1_Pin|Right_A0_Pin;
  GPIO_InitStruct.Mode = GPIO_MODE_OUTPUT_PP;
  GPIO_InitStruct.Pull = GPIO_NOPULL;
  GPIO_InitStruct.Speed = GPIO_SPEED_FREQ_LOW;
  HAL_GPIO_Init(GPIOB, &GPIO_InitStruct);

  /*Configure GPIO pin : User_Button_Pin */
  GPIO_InitStruct.Pin = User_Button_Pin;
  GPIO_InitStruct.Mode = GPIO_MODE_INPUT;
  GPIO_InitStruct.Pull = GPIO_NOPULL;
  HAL_GPIO_Init(User_Button_GPIO_Port, &GPIO_InitStruct);

  /*Configure GPIO pins : XSHUT_Pin LED_CAM_Pin */
  GPIO_InitStruct.Pin = XSHUT_Pin|LED_CAM_Pin;
  GPIO_InitStruct.Mode = GPIO_MODE_OUTPUT_PP;
  GPIO_InitStruct.Pull = GPIO_NOPULL;
  GPIO_InitStruct.Speed = GPIO_SPEED_FREQ_LOW;
  HAL_GPIO_Init(GPIOD, &GPIO_InitStruct);

  /*Configure GPIO pin : GPIO_1_TOF_Pin */
  GPIO_InitStruct.Pin = GPIO_1_TOF_Pin;
  GPIO_InitStruct.Mode = GPIO_MODE_INPUT;
  GPIO_InitStruct.Pull = GPIO_PULLUP;
  HAL_GPIO_Init(GPIO_1_TOF_GPIO_Port, &GPIO_InitStruct);

  /*Configure GPIO pin : Left_Enable_Pin */
  GPIO_InitStruct.Pin = Left_Enable_Pin;
  GPIO_InitStruct.Mode = GPIO_MODE_OUTPUT_PP;
  GPIO_InitStruct.Pull = GPIO_NOPULL;
  GPIO_InitStruct.Speed = GPIO_SPEED_FREQ_LOW;
  HAL_GPIO_Init(Left_Enable_GPIO_Port, &GPIO_InitStruct);

  /*Configure GPIO pins : PB8 PB9 */
  GPIO_InitStruct.Pin = GPIO_PIN_8|GPIO_PIN_9;
  GPIO_InitStruct.Mode = GPIO_MODE_AF_OD;
  GPIO_InitStruct.Pull = GPIO_NOPULL;
  GPIO_InitStruct.Speed = GPIO_SPEED_FREQ_VERY_HIGH;
  GPIO_InitStruct.Alternate = GPIO_AF4_I2C1;
  HAL_GPIO_Init(GPIOB, &GPIO_InitStruct);

}

 /* MPU Configuration */

void MPU_Config(void)
{
  MPU_Region_InitTypeDef MPU_InitStruct = {0};

  /* Disables the MPU */
  HAL_MPU_Disable();

  /** Initializes and configures the Region and the memory to be protected
  */
  MPU_InitStruct.Enable = MPU_REGION_ENABLE;
  MPU_InitStruct.Number = MPU_REGION_NUMBER0;
  MPU_InitStruct.BaseAddress = 0x0;
  MPU_InitStruct.Size = MPU_REGION_SIZE_4GB;
  MPU_InitStruct.SubRegionDisable = 0x87;
  MPU_InitStruct.TypeExtField = MPU_TEX_LEVEL0;
  MPU_InitStruct.AccessPermission = MPU_REGION_NO_ACCESS;
  MPU_InitStruct.DisableExec = MPU_INSTRUCTION_ACCESS_DISABLE;
  MPU_InitStruct.IsShareable = MPU_ACCESS_SHAREABLE;
  MPU_InitStruct.IsCacheable = MPU_ACCESS_NOT_CACHEABLE;
  MPU_InitStruct.IsBufferable = MPU_ACCESS_NOT_BUFFERABLE;

  HAL_MPU_ConfigRegion(&MPU_InitStruct);
  /* Enables the MPU */
  HAL_MPU_Enable(MPU_PRIVILEGED_DEFAULT);

}

void Error_Handler(void)
{
  __disable_irq();
  while (1)
  {
  }
}
